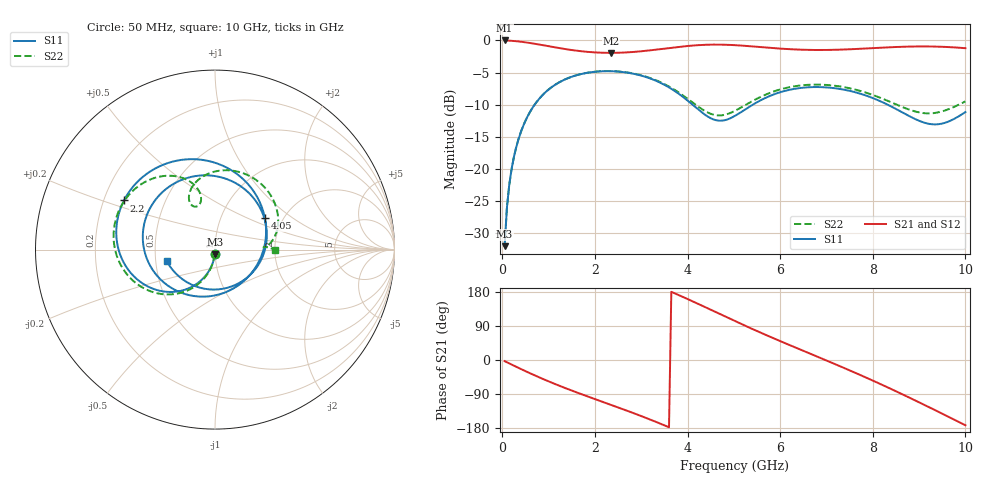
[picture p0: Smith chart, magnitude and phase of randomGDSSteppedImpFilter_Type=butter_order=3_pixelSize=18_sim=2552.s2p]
! freq	dB(S11)	phase(S11)	dB(S12)	phase(S12)
!  dB(S21)	phase(S21)	dB(S22)	phase(S22)
!S-par simulation data
#  GHz  S  DB  R 50
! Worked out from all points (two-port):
!   200 points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, 50 MHz to 10 GHz, reference 50 ohm
!   highest |S21| = 0.00 dB at 50 MHz (marker M1); lowest = -1.9 dB at 2.35 GHz (marker M2)
!   |S21| within 3 dB of the highest: start of sweep to end of sweep
!   lowest |S11| = -32.0 dB at 50 MHz (marker M3), VSWR 1.05, Z = 49.8 - j2.5 ohm
!   |S11| at or under -10 dB: start of sweep to 697.7 MHz; 4.109 GHz to 5.408 GHz (1.299 GHz wide, 27.3 % of centre); 8.324 GHz to end of sweep
!   |S22| runs from -32.0 to -4.8 dB; largest |S21 - S12| = 0
!   S11 on the Smith chart (normalised r, x): 50 MHz: 1.00, -0.05; 2.2 GHz: 0.28, +0.23; 4.05 GHz: 1.61, +0.64; 10 GHz: 0.57, -0.08
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0.05  -31.98 -93.1  -0.00 -3.0  -0.00 -3.0  -31.99 -92.9
0.1  -25.98 -96.4  -0.02 -6.0  -0.02 -6.0  -25.99 -96.0
0.2  -20.04 -102.7  -0.06 -12.0  -0.06 -12.0  -20.04 -101.9
0.5  -12.49 -120.9  -0.29 -29.4  -0.29 -29.4  -12.49 -119.0
1.05  -7.35 -151.6  -0.96 -58.9  -0.96 -58.9  -7.35 -147.3
1.75  -5.15 173.3  -1.71 -92.0  -1.71 -92.0  -5.14 -178.4
2.2  -4.79 151.6  -1.92 -111.9  -1.92 -111.9  -4.77 163.7
2.35  -4.79 144.3  -1.93 -118.5  -1.93 -118.5  -4.77 157.9
2.9  -5.29 115.7  -1.75 -143.2  -1.75 -143.2  -5.25 137.5
3.4  -6.54 85.4  -1.36 -167.3  -1.36 -167.3  -6.44 120.3
4.05  -9.65 32.6  -0.83 158.2  -0.83 158.2  -9.33 105.4
4.6  -12.38 -35.6  -0.65 126.9  -0.65 126.9  -11.61 110.5
5.05  -11.62 -97.1  -0.75 101.3  -0.75 101.3  -10.85 118.0
5.45  -9.82 -138.4  -0.96 79.1  -0.96 79.1  -9.24 114.3
5.9  -8.30 -173.5  -1.22 55.1  -1.22 55.1  -7.85 101.9
6.7  -7.26 135.5  -1.48 14.1  -1.48 14.1  -6.88 71.7
7.5  -7.84 86.2  -1.38 -27.3  -1.38 -27.3  -7.43 39.6
8.35  -10.09 24.1  -1.07 -73.9  -1.07 -73.9  -9.48 11.3
8.75  -11.62 -13.4  -0.96 -96.9  -0.96 -96.9  -10.66 4.2
9.1  -12.76 -53.2  -0.93 -117.6  -0.93 -117.6  -11.30 2.7
9.55  -12.83 -111.5  -1.00 -144.7  -1.00 -144.7  -10.92 3.0
10  -11.14 -166.9  -1.21 -172.2  -1.21 -172.2  -9.48 -0.8
